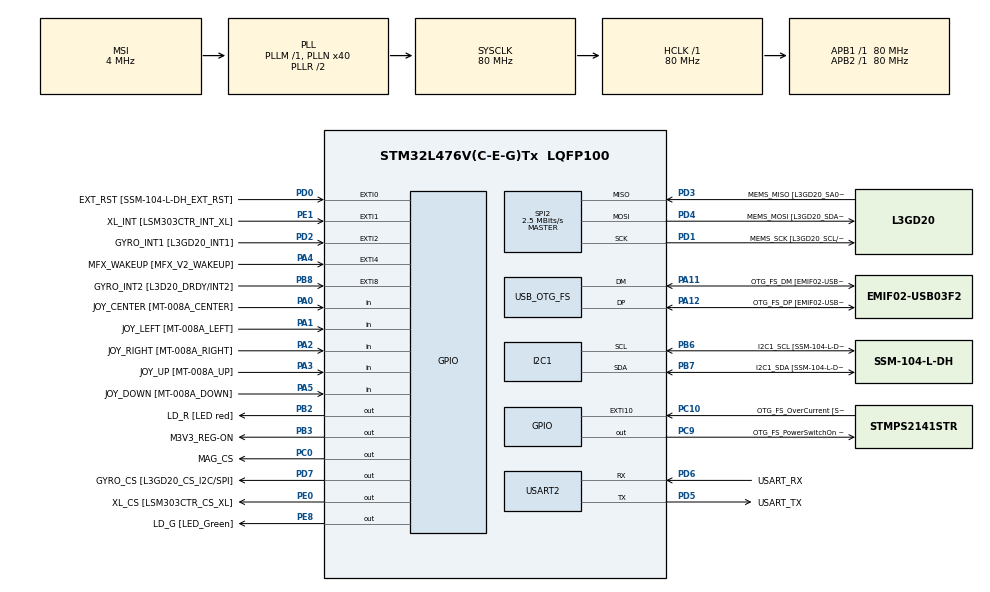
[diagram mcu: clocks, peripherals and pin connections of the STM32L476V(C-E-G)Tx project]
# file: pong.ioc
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I2C1.Timing=0x10909CEC
Mcu.Family=STM32L4
Mcu.Name=STM32L476V(C-E-G)Tx
Mcu.Package=LQFP100
NVIC.OTG_FS_IRQn=true\:0\:0\:false\:false\:true\:true\:true\:true
NVIC.PriorityGroup=NVIC_PRIORITYGROUP_4
NVIC.SPI2_IRQn=true\:0\:0\:false\:false\:true\:true\:true\:true
NVIC.USART2_IRQn=true\:0\:0\:false\:false\:true\:true\:true\:true
PA0.GPIO_Label=JOY_CENTER [MT-008A_CENTER]
PA0.GPIO_Mode=GPIO_MODE_INPUT
PA0.GPIO_PuPd=GPIO_PULLDOWN
PA0.Signal=GPIO_Input
PA1.GPIO_Label=JOY_LEFT [MT-008A_LEFT]
PA1.GPIO_Mode=GPIO_MODE_INPUT
PA1.GPIO_PuPd=GPIO_PULLDOWN
PA1.Signal=GPIO_Input
PA11.GPIO_Label=OTG_FS_DM [EMIF02-USB03F2_D-out]
PA11.GPIO_Mode=GPIO_MODE_AF_PP
PA11.GPIO_PuPd=GPIO_NOPULL
PA11.GPIO_Speed=GPIO_SPEED_FREQ_VERY_HIGH
PA11.Mode=Device_Only
PA11.Signal=USB_OTG_FS_DM
PA12.GPIO_Label=OTG_FS_DP [EMIF02-USB03F2_D+out]
PA12.GPIO_Mode=GPIO_MODE_AF_PP
PA12.GPIO_PuPd=GPIO_NOPULL
PA12.GPIO_Speed=GPIO_SPEED_FREQ_VERY_HIGH
PA12.Mode=Device_Only
PA12.Signal=USB_OTG_FS_DP
PA13\ (JTMS-SWDIO).GPIO_Label=SWDIO
PA13\ (JTMS-SWDIO).Mode=Serial_Wire
PA13\ (JTMS-SWDIO).Signal=SYS_JTMS-SWDIO
PA14\ (JTCK-SWCLK).GPIO_Label=SWCLK
PA14\ (JTCK-SWCLK).Mode=Serial_Wire
PA14\ (JTCK-SWCLK).Signal=SYS_JTCK-SWCLK
PA2.GPIO_Label=JOY_RIGHT [MT-008A_RIGHT]
PA2.GPIO_Mode=GPIO_MODE_INPUT
PA2.GPIO_PuPd=GPIO_PULLDOWN
PA2.Signal=GPIO_Input
PA3.GPIO_Label=JOY_UP [MT-008A_UP]
PA3.GPIO_Mode=GPIO_MODE_INPUT
PA3.GPIO_PuPd=GPIO_PULLDOWN
PA3.Signal=GPIO_Input
PA4.GPIO_Label=MFX_WAKEUP [MFX_V2_WAKEUP]
PA4.GPIO_ModeDefaultEXTI=GPIO_MODE_EVT_RISING
PA4.GPIO_PuPd=GPIO_NOPULL
PA4.Signal=GPXTI4
PA5.GPIO_Label=JOY_DOWN [MT-008A_DOWN]
PA5.GPIO_Mode=GPIO_MODE_INPUT
PA5.GPIO_PuPd=GPIO_PULLDOWN
PA5.Signal=GPIO_Input
PB2.GPIO_Label=LD_R [LED red]
PB2.GPIO_ModeDefaultOutputPP=GPIO_MODE_OUTPUT_PP
PB2.GPIO_PuPd=GPIO_PULLUP
PB2.GPIO_Speed=GPIO_SPEED_FREQ_VERY_HIGH
PB2.Signal=GPIO_Output
PB3\ (JTDO-TRACESWO).GPIO_Label=M3V3_REG-ON
PB3\ (JTDO-TRACESWO).GPIO_ModeDefaultOutputPP=GPIO_MODE_OUTPUT_PP
PB3\ (JTDO-TRACESWO).GPIO_PuPd=GPIO_NOPULL
PB3\ (JTDO-TRACESWO).GPIO_Speed=GPIO_SPEED_FREQ_LOW
PB3\ (JTDO-TRACESWO).Signal=GPIO_Output
PB6.GPIO_FM6=__NULL
PB6.GPIO_Label=I2C1_SCL [SSM-104-L-DH_SCL]
PB6.GPIO_Mode=GPIO_MODE_AF_OD
PB6.GPIO_PuPdOD=GPIO_PULLUP
PB6.GPIO_Speed=GPIO_SPEED_FREQ_VERY_HIGH
PB6.Mode=I2C
PB6.Signal=I2C1_SCL
PB7.GPIO_FM7=__NULL
PB7.GPIO_Label=I2C1_SDA [SSM-104-L-DH_SDA]
PB7.GPIO_Mode=GPIO_MODE_AF_OD
PB7.GPIO_PuPdOD=GPIO_PULLUP
PB7.GPIO_Speed=GPIO_SPEED_FREQ_VERY_HIGH
PB7.Mode=I2C
PB7.Signal=I2C1_SDA
PB8.GPIO_Label=GYRO_INT2 [L3D20_DRDY/INT2]
PB8.GPIO_ModeDefaultEXTI=GPIO_MODE_EVT_RISING
PB8.GPIO_PuPd=GPIO_NOPULL
PB8.Signal=GPXTI8
PC0.GPIO_Label=MAG_CS
PC0.PinState=GPIO_PIN_SET
PC0.Signal=GPIO_Output
PC10.GPIO_Label=OTG_FS_OverCurrent [STMPS2141STR_FAULT]
PC10.GPIO_ModeDefaultEXTI=GPIO_MODE_EVT_RISING
PC10.GPIO_PuPd=GPIO_NOPULL
PC10.Signal=GPXTI10
PC14-OSC32_IN\ (PC14).Mode=LSE-External-Oscillator
PC14-OSC32_IN\ (PC14).Signal=RCC_OSC32_IN
PC15-OSC32_OUT\ (PC15).Mode=LSE-External-Oscillator
PC15-OSC32_OUT\ (PC15).Signal=RCC_OSC32_OUT
PC9.GPIO_Label=OTG_FS_PowerSwitchOn [STMPS2141STR_EN]
PC9.GPIO_ModeDefaultOutputPP=GPIO_MODE_OUTPUT_PP
PC9.GPIO_PuPd=GPIO_NOPULL
PC9.GPIO_Speed=GPIO_SPEED_FREQ_LOW
PC9.PinState=GPIO_PIN_SET
PC9.Signal=GPIO_Output
PD0.GPIO_Label=EXT_RST [SSM-104-L-DH_EXT_RST]
PD0.GPIO_ModeDefaultEXTI=GPIO_MODE_EVT_RISING
PD0.GPIO_PuPd=GPIO_NOPULL
PD0.Signal=GPXTI0
PD1.GPIO_Label=MEMS_SCK [L3GD20_SCL/SPC]
PD1.GPIO_Mode=GPIO_MODE_AF_PP
PD1.GPIO_PuPd=GPIO_NOPULL
PD1.GPIO_Speed=GPIO_SPEED_FREQ_VERY_HIGH
PD1.Mode=Full_Duplex_Master
PD1.Signal=SPI2_SCK
PD2.GPIO_Label=GYRO_INT1 [L3GD20_INT1]
PD2.GPIO_ModeDefaultEXTI=GPIO_MODE_EVT_RISING
PD2.GPIO_PuPd=GPIO_NOPULL
PD2.Signal=GPXTI2
PD3.GPIO_Label=MEMS_MISO [L3GD20_SA0/SDO]
PD3.GPIO_Mode=GPIO_MODE_AF_PP
PD3.GPIO_PuPd=GPIO_NOPULL
PD3.GPIO_Speed=GPIO_SPEED_FREQ_VERY_HIGH
PD3.Mode=Full_Duplex_Master
PD3.Signal=SPI2_MISO
PD4.GPIO_Label=MEMS_MOSI [L3GD20_SDA/SDI/SDO]
PD4.GPIO_Mode=GPIO_MODE_AF_PP
PD4.GPIO_PuPd=GPIO_NOPULL
PD4.GPIO_Speed=GPIO_SPEED_FREQ_VERY_HIGH
PD4.Mode=Full_Duplex_Master
PD4.Signal=SPI2_MOSI
PD5.GPIO_Label=USART_TX
PD5.GPIO_Mode=GPIO_MODE_AF_PP
PD5.GPIO_PuPd=GPIO_PULLUP
PD5.GPIO_Speed=GPIO_SPEED_FREQ_VERY_HIGH
PD5.Mode=Asynchronous
PD5.Signal=USART2_TX
PD6.GPIO_Label=USART_RX
PD6.GPIO_Mode=GPIO_MODE_AF_PP
PD6.GPIO_PuPd=GPIO_PULLUP
PD6.GPIO_Speed=GPIO_SPEED_FREQ_VERY_HIGH
PD6.Mode=Asynchronous
PD6.Signal=USART2_RX
PD7.GPIO_Label=GYRO_CS [L3GD20_CS_I2C/SPI]
PD7.GPIO_ModeDefaultOutputPP=GPIO_MODE_OUTPUT_PP
PD7.GPIO_PuPd=GPIO_NOPULL
PD7.GPIO_Speed=GPIO_SPEED_FREQ_VERY_HIGH
PD7.PinState=GPIO_PIN_SET
PD7.Signal=GPIO_Output
PE0.GPIO_Label=XL_CS [LSM303CTR_CS_XL]
PE0.GPIO_ModeDefaultOutputPP=GPIO_MODE_OUTPUT_PP
PE0.GPIO_PuPd=GPIO_NOPULL
PE0.GPIO_Speed=GPIO_SPEED_FREQ_LOW
PE0.PinState=GPIO_PIN_RESET
PE0.Signal=GPIO_Output
PE1.GPIO_Label=XL_INT [LSM303CTR_INT_XL]
PE1.GPIO_ModeDefaultEXTI=GPIO_MODE_EVT_RISING
PE1.GPIO_PuPd=GPIO_NOPULL
PE1.Signal=GPXTI1
PE8.GPIO_Label=LD_G [LED_Green]
PE8.GPIO_ModeDefaultOutputPP=GPIO_MODE_OUTPUT_PP
PE8.GPIO_PuPd=GPIO_PULLUP
PE8.GPIO_Speed=GPIO_SPEED_FREQ_VERY_HIGH
PE8.Signal=GPIO_Output
PH0-OSC_IN\ (PH0).Mode=HSE-External-Oscillator
PH0-OSC_IN\ (PH0).Signal=RCC_OSC_IN
PH1-OSC_OUT\ (PH1).Mode=HSE-External-Oscillator
PH1-OSC_OUT\ (PH1).Signal=RCC_OSC_OUT
ProjectManager.HeapSize=0x200
ProjectManager.StackSize=0x400
ProjectManager.TargetToolchain=STM32CubeIDE
RCC.ADCFreq_Value=48000000
RCC.AHBFreq_Value=80000000
RCC.APB1Freq_Value=80000000
RCC.APB1TimFreq_Value=80000000
RCC.APB2Freq_Value=80000000
RCC.APB2TimFreq_Value=80000000
RCC.CortexFreq_Value=80000000
RCC.HCLKFreq_Value=80000000
RCC.HSE_VALUE=8000000
RCC.HSI_VALUE=16000000
RCC.MSI_VALUE=4000000
RCC.PLLN=40
RCC.PLLSAI1N=24
RCC.PREFETCH_ENABLE=1
RCC.SYSCLKFreq_VALUE=80000000
RCC.SYSCLKSource=RCC_SYSCLKSOURCE_PLLCLK
RCC.USBFreq_Value=48000000
RCC.VCOOutputFreq_Value=160000000
SPI2.BaudRatePrescaler=SPI_BAUDRATEPRESCALER_32
SPI2.CLKPhase=SPI_PHASE_2EDGE
SPI2.CLKPolarity=SPI_POLARITY_HIGH
SPI2.CalculateBaudRate=2.5 MBits/s
SPI2.DataSize=SPI_DATASIZE_8BIT
SPI2.Direction=SPI_DIRECTION_2LINES
SPI2.Mode=SPI_MODE_MASTER
SPI2.VirtualType=VM_MASTER
USART2.VirtualMode-Asynchronous=VM_ASYNC
USB_DEVICE.CLASS_NAME_FS=CDC
USB_DEVICE.VirtualMode=Cdc
USB_DEVICE.VirtualModeFS=Cdc_FS
USB_OTG_FS.VirtualMode=Device_Only
VP_TIM6_VS_ClockSourceINT.Mode=Enable_Timer
VP_USB_DEVICE_VS_USB_DEVICE_CDC_FS.Mode=CDC_FS
board=STM32L476G-DISCO

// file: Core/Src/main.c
/* USER CODE BEGIN Header */
/**
  ******************************************************************************
  * @file           : main.c
  * @brief          : Main program body
  ******************************************************************************
  * @attention
  *
  * <h2><center>&copy; Copyright (c) 2025 STMicroelectronics.
  * All rights reserved.</center></h2>
  *
  * This software component is licensed by ST under Ultimate Liberty license
  * SLA0044, the "License"; You may not use this file except in compliance with
  * the License. You may obtain a copy of the License at:
  *                             www.st.com/SLA0044
  *
  ******************************************************************************
  */
/* USER CODE END Header */
#include "main.h"
#include "i2c.h"
#include "spi.h"
#include "tim.h"
#include "usart.h"
#include "usb_device.h"
#include "gpio.h"

/* USER CODE BEGIN Includes */

#include <stdint.h>
#include <stdio.h>
#include "accelerometer.h"

/* USER CODE END Includes */

/* USER CODE BEGIN PV */

int16_t filteredAcc[3] = {0};
int16_t offset[3];

/* USER CODE END PV */

void SystemClock_Config(void);
/* USER CODE BEGIN PFP */

int _write(int file, char *ptr, int len);
uint8_t computeCRC8(const uint8_t* data, size_t length);

/* USER CODE END PFP */

int main(void)
{

  /* MCU Configuration--------------------------------------------------------*/

  /* Reset of all peripherals, Initializes the Flash interface and the Systick. */
  HAL_Init();

  /* Configure the system clock */
  SystemClock_Config();

  /* Initialize all configured peripherals */
  MX_GPIO_Init();
  MX_I2C1_Init();
  MX_SPI2_Init();
  MX_USART2_UART_Init();
  MX_TIM6_Init();
  MX_USB_DEVICE_Init();
  /* USER CODE BEGIN 2 */

  printf(" - - Start Programu - - ");

  if(accInit()){Error_Handler();}

  accel_calibrate(offset, 100);

  /* USER CODE END 2 */

  /* Infinite loop */
  while (1)
  {

    /* USER CODE BEGIN 3 */

	AccGetData(filteredAcc);
	printf("%7d;%7d;%7d\n",filteredAcc[0],filteredAcc[1],filteredAcc[2]);
	HAL_Delay(50);
  }
  /* USER CODE END 3 */
}

void SystemClock_Config(void)
{
  RCC_OscInitTypeDef RCC_OscInitStruct = {0};
  RCC_ClkInitTypeDef RCC_ClkInitStruct = {0};
  RCC_PeriphCLKInitTypeDef PeriphClkInit = {0};

  /** Configure LSE Drive Capability
  */
  HAL_PWR_EnableBkUpAccess();
  __HAL_RCC_LSEDRIVE_CONFIG(RCC_LSEDRIVE_LOW);
  /** Initializes the RCC Oscillators according to the specified parameters
  * in the RCC_OscInitTypeDef structure.
  */
  RCC_OscInitStruct.OscillatorType = RCC_OSCILLATORTYPE_LSE|RCC_OSCILLATORTYPE_MSI;
  RCC_OscInitStruct.LSEState = RCC_LSE_ON;
  RCC_OscInitStruct.MSIState = RCC_MSI_ON;
  RCC_OscInitStruct.MSICalibrationValue = 0;
  RCC_OscInitStruct.MSIClockRange = RCC_MSIRANGE_6;
  RCC_OscInitStruct.PLL.PLLState = RCC_PLL_ON;
  RCC_OscInitStruct.PLL.PLLSource = RCC_PLLSOURCE_MSI;
  RCC_OscInitStruct.PLL.PLLM = 1;
  RCC_OscInitStruct.PLL.PLLN = 40;
  RCC_OscInitStruct.PLL.PLLP = RCC_PLLP_DIV7;
  RCC_OscInitStruct.PLL.PLLQ = RCC_PLLQ_DIV2;
  RCC_OscInitStruct.PLL.PLLR = RCC_PLLR_DIV2;
  if (HAL_RCC_OscConfig(&RCC_OscInitStruct) != HAL_OK)
  {
    Error_Handler();
  }
  /** Initializes the CPU, AHB and APB buses clocks
  */
  RCC_ClkInitStruct.ClockType = RCC_CLOCKTYPE_HCLK|RCC_CLOCKTYPE_SYSCLK
                              |RCC_CLOCKTYPE_PCLK1|RCC_CLOCKTYPE_PCLK2;
  RCC_ClkInitStruct.SYSCLKSource = RCC_SYSCLKSOURCE_PLLCLK;
  RCC_ClkInitStruct.AHBCLKDivider = RCC_SYSCLK_DIV1;
  RCC_ClkInitStruct.APB1CLKDivider = RCC_HCLK_DIV1;
  RCC_ClkInitStruct.APB2CLKDivider = RCC_HCLK_DIV1;

  if (HAL_RCC_ClockConfig(&RCC_ClkInitStruct, FLASH_LATENCY_4) != HAL_OK)
  {
    Error_Handler();
  }
  PeriphClkInit.PeriphClockSelection = RCC_PERIPHCLK_USART2|RCC_PERIPHCLK_I2C1
                              |RCC_PERIPHCLK_USB;
  PeriphClkInit.Usart2ClockSelection = RCC_USART2CLKSOURCE_PCLK1;
  PeriphClkInit.I2c1ClockSelection = RCC_I2C1CLKSOURCE_PCLK1;
  PeriphClkInit.UsbClockSelection = RCC_USBCLKSOURCE_PLLSAI1;
  PeriphClkInit.PLLSAI1.PLLSAI1Source = RCC_PLLSOURCE_MSI;
  PeriphClkInit.PLLSAI1.PLLSAI1M = 1;
  PeriphClkInit.PLLSAI1.PLLSAI1N = 24;
  PeriphClkInit.PLLSAI1.PLLSAI1P = RCC_PLLP_DIV7;
  PeriphClkInit.PLLSAI1.PLLSAI1Q = RCC_PLLQ_DIV2;
  PeriphClkInit.PLLSAI1.PLLSAI1R = RCC_PLLR_DIV2;
  PeriphClkInit.PLLSAI1.PLLSAI1ClockOut = RCC_PLLSAI1_48M2CLK;
  if (HAL_RCCEx_PeriphCLKConfig(&PeriphClkInit) != HAL_OK)
  {
    Error_Handler();
  }
  /** Configure the main internal regulator output voltage
  */
  if (HAL_PWREx_ControlVoltageScaling(PWR_REGULATOR_VOLTAGE_SCALE1) != HAL_OK)
  {
    Error_Handler();
  }
  /** Enable MSI Auto calibration
  */
  HAL_RCCEx_EnableMSIPLLMode();
}

/* USER CODE BEGIN 4 */

uint8_t computeCRC8(const uint8_t* data, size_t length) {
    uint8_t crc = 0x00;
    uint8_t poly = 0x07;

    for(size_t i = 0; i < length; ++i){
        crc ^= data[i];
        for(int bit = 0; bit < 8; ++bit){
            if(crc & 0x80){
                crc = ((crc << 1) ^ poly) & 0xFF;
            }else{
                crc = (crc << 1) & 0xFF;
            }
        }
    }

    return crc;
}

int _write(int file, char *ptr, int len) {
    uint8_t buffer[512];

    if(len + 1 > sizeof(buffer)){
        return -1;
    }

    for(int i = 0; i < len; ++i){
        buffer[i] = (uint8_t)ptr[i];
    }

    buffer[len] = computeCRC8(buffer, len);

    CDC_Transmit_FS(buffer, len + 1);

    return len;
}

//int _write(int file, char *ptr, int len) {
////    HAL_UART_Transmit(&huart2, (uint8_t*) ptr, len, 100);
//	CDC_Transmit_FS((uint8_t*)ptr,len);
//    return len;
//}

/* USER CODE END 4 */

void Error_Handler(void)
{
  /* USER CODE BEGIN Error_Handler_Debug */
  /* User can add his own implementation to report the HAL error return state */
	HAL_GPIO_TogglePin(GPIOB, GPIO_PIN_2);
	HAL_Delay(500);
	printf("ERR\r\n");

  /* USER CODE END Error_Handler_Debug */
}

/************************ (C) COPYRIGHT STMicroelectronics *****END OF FILE****/
